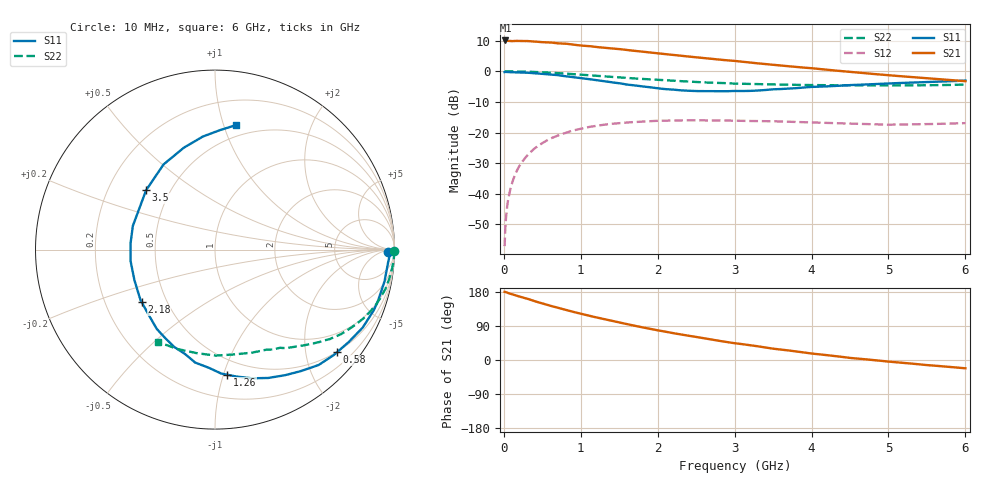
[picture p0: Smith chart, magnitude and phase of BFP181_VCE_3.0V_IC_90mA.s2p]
! Infineon Technologies  Discrete & RF Semiconductors
! BFP181
! VCE = 3.0 V,  IC =  90 mA
! Common Emitter S-Parameters:  Jan 2016
# GHz  S  MA  R  50
!  f  S11  S21  S12  S22
! GHz  MAG  ANG  MAG  ANG  MAG  ANG  MAG  ANG
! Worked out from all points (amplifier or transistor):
!   210 points, 10 MHz to 6 GHz, reference 50 ohm
!   highest |S21| = 10.0 dB at 20 MHz (marker M1)
!   |S21| within 3 dB of that: start of sweep to 1.564 GHz
!   unconditionally stable (mu >= 1): 3.133 GHz to end of sweep
!   at 185 MHz: K = 0.08, MSG = 20.8 dB, |S12| = -31.7 dB
!   at 1.52 GHz: K = 0.51, MSG = 12.0 dB, |S12| = -16.9 dB
!   at 6 GHz: K = 1.29, MAG = 3.6 dB, |S12| = -16.9 dB
!   S11 on the Smith chart (normalised r, x): 10 MHz: 50, -21; 580 MHz: 0.49, -2.66; 1.26 GHz: 0.38, -1.03; 2.18 GHz: 0.36, -0.28; 3.5 GHz: 0.37, +0.33; 6 GHz: 0.40, +1.10
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0.01  0.9666 -0.8  3.124 179.7  0.0014 82.5  0.9983 -0.3
0.02  0.9748 -1.5  3.174 179.5  0.0029 89.0  0.9979 -0.6
0.04  0.9708 -2.7  3.148 177.8  0.0058 90.1  0.9977 -1.3
0.07  0.9661 -4.8  3.118 175.8  0.0099 86.1  0.9976 -2.3
0.17  0.958 -12.0  3.12 169.5  0.0239 81.1  0.9931 -5.5
0.3  0.9466 -21.0  3.108 162.0  0.0416 75.9  0.9836 -9.8
0.4  0.9307 -27.8  3.051 155.2  0.055 71.6  0.9745 -13.0
0.58  0.8883 -40.1  2.955 144.5  0.0768 63.4  0.9501 -18.3
0.8  0.8276 -55.0  2.822 132.5  0.0986 54.3  0.9153 -24.4
1.02  0.7676 -68.8  2.613 121.2  0.1166 46.1  0.8749 -29.8
1.26  0.7007 -84.4  2.444 109.8  0.132 38.1  0.8345 -35.1
1.5  0.6389 -100.0  2.302 98.7  0.142 31.4  0.7917 -39.7
1.8  0.5653 -119.5  2.084 86.1  0.1511 24.3  0.7486 -44.6
2.02  0.5229 -133.7  1.949 77.7  0.1554 19.7  0.7212 -47.9
2.18  0.5027 -144.4  1.852 71.6  0.1567 16.3  0.7007 -50.6
2.62  0.4735 -173.5  1.629 56.8  0.1571 9.5  0.6545 -56.9
3.1  0.4751 158.8  1.427 41.8  0.1547 3.4  0.6232 -64.1
3.5  0.5069 139.2  1.275 29.9  0.1526 -0.2  0.6101 -70.2
4.1  0.5595 118.1  1.087 15.0  0.1445 -3.6  0.5919 -81.3
4.5  0.5937 107.0  0.976 5.5  0.1398 -5.3  0.5905 -89.5
5.1  0.6387 94.4  0.84 -5.9  0.1347 -3.5  0.5856 -102.2
6  0.7029 80.5  0.687 -21.9  0.1423 -0.2  0.605 -121.7
